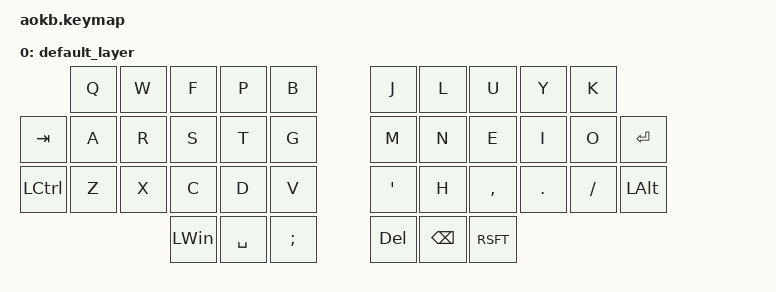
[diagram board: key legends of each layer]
/ {
    keymap {
        compatible = "zmk,keymap";

        default_layer {
            bindings = <
//          |           |           |           |           |           |           |           |           |           |           |           |           |           
            &kp Q       &kp W       &kp F       &kp P       &kp B                   &kp J       &kp L       &kp U       &kp Y       &kp K   
&kp TAB     &kp A       &kp R       &kp S       &kp T       &kp G                   &kp M       &kp N       &kp E       &kp I       &kp O       &kp RET
&kp LCTL    &kp Z       &kp X       &kp C       &kp D       &kp V                   &kp SQT     &kp H       &kp COMMA   &kp DOT     &kp FSLH    &kp LALT
                                    &kp LWIN    &kp SPACE   &kp SEMI                &kp DEL     &kp BSPC    &kp RSFT
            >;
        };
    };
};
